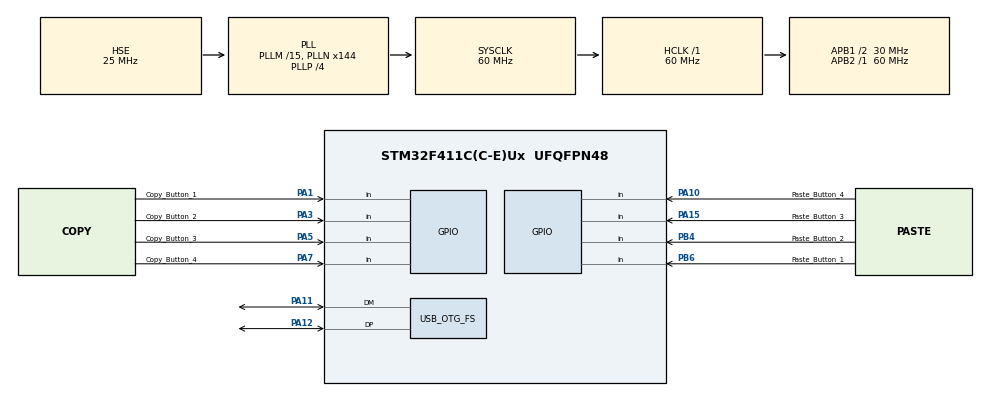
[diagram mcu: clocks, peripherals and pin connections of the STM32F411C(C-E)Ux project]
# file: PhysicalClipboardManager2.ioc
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Mcu.Family=STM32F4
Mcu.Name=STM32F411C(C-E)Ux
Mcu.Package=UFQFPN48
NVIC.OTG_FS_IRQn=true\:0\:0\:false\:false\:true\:false\:true\:true
NVIC.PriorityGroup=NVIC_PRIORITYGROUP_4
PA1.GPIO_Label=Copy_Button_1
PA1.Signal=GPIO_Input
PA10.GPIO_Label=Paste_Button_4
PA10.Signal=GPIO_Input
PA11.Mode=Device_Only
PA11.Signal=USB_OTG_FS_DM
PA12.Mode=Device_Only
PA12.Signal=USB_OTG_FS_DP
PA15.GPIO_Label=Paste_Button_3
PA15.Signal=GPIO_Input
PA3.GPIO_Label=Copy_Button_2
PA3.Signal=GPIO_Input
PA5.GPIO_Label=Copy_Button_3
PA5.Signal=GPIO_Input
PA7.GPIO_Label=Copy_Button_4
PA7.Signal=GPIO_Input
PB4.GPIO_Label=Paste_Button_2
PB4.Signal=GPIO_Input
PB6.GPIO_Label=Paste_Button_1
PB6.Signal=GPIO_Input
PH0\ -\ OSC_IN.Mode=HSE-External-Oscillator
PH0\ -\ OSC_IN.Signal=RCC_OSC_IN
PH1\ -\ OSC_OUT.Mode=HSE-External-Oscillator
PH1\ -\ OSC_OUT.Signal=RCC_OSC_OUT
ProjectManager.HeapSize=0x200
ProjectManager.StackSize=0x400
ProjectManager.TargetToolchain=STM32CubeIDE
RCC.48MHZClocksFreq_Value=48000000
RCC.AHBFreq_Value=60000000
RCC.APB1CLKDivider=RCC_HCLK_DIV2
RCC.APB1Freq_Value=30000000
RCC.APB1TimFreq_Value=60000000
RCC.APB2Freq_Value=60000000
RCC.APB2TimFreq_Value=60000000
RCC.CortexFreq_Value=60000000
RCC.HCLKFreq_Value=60000000
RCC.HSE_VALUE=25000000
RCC.HSI_VALUE=16000000
RCC.LSE_VALUE=32768
RCC.PLLM=15
RCC.PLLN=144
RCC.PLLP=RCC_PLLP_DIV4
RCC.PLLQ=5
RCC.SYSCLKFreq_VALUE=60000000
RCC.SYSCLKSource=RCC_SYSCLKSOURCE_PLLCLK
RCC.VCOOutputFreq_Value=240000000
USB_DEVICE.CLASS_NAME_FS=CDC
USB_DEVICE.VirtualMode=Cdc
USB_DEVICE.VirtualModeFS=Cdc_FS
USB_OTG_FS.VirtualMode=Device_Only
VP_USB_DEVICE_VS_USB_DEVICE_CDC_FS.Mode=CDC_FS
board=custom

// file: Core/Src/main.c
/* USER CODE BEGIN Header */
/**
  ******************************************************************************
  * @file           : main.c
  * @brief          : Main program body
  ******************************************************************************
  * @attention
  *
  * Copyright (c) 2022 STMicroelectronics.
  * All rights reserved.
  *
  * This software is licensed under terms that can be found in the LICENSE file
  * in the root directory of this software component.
  * If no LICENSE file comes with this software, it is provided AS-IS.
  *
  ******************************************************************************
  */
/* USER CODE END Header */
#include "main.h"
#include "usb_device.h"
#include "usbd_cdc_if.h"
#include "flash_memory.h"
#include "addresses.h"
#include <string.h>
#include <stdbool.h>

void SystemClock_Config(void);
static void MX_GPIO_Init(void);
/* USER CODE BEGIN PFP */
static bool send_flash_buffer_to_server(uint32_t metadata_address, uint32_t begin_address);
static bool send_command_to_server(const char* command);
/* USER CODE END PFP */

int main(void)
{

  /* MCU Configuration--------------------------------------------------------*/

  /* Reset of all peripherals, Initializes the Flash interface and the Systick. */
  HAL_Init();

  /* Configure the system clock */
  SystemClock_Config();

  /* Initialize all configured peripherals */
  MX_GPIO_Init();
  MX_USB_DEVICE_Init();

  /* Infinite loop */
  /* USER CODE BEGIN WHILE */
  bool button_pressed = false;
  while (1)
  {
	  // COPY BUTTONS
	  if (HAL_GPIO_ReadPin(GPIOA, Copy_Button_1_Pin))
		  button_pressed = send_command_to_server("COPY1");
	  else if (HAL_GPIO_ReadPin(GPIOA, Copy_Button_2_Pin))
		  button_pressed = send_command_to_server("COPY2");
	  else if (HAL_GPIO_ReadPin(GPIOA, Copy_Button_3_Pin))
		  button_pressed = send_command_to_server("COPY3");
	  else if (HAL_GPIO_ReadPin(GPIOA, Copy_Button_4_Pin))
		  button_pressed = send_command_to_server("COPY4");

	  // PASTE BUTTONS
	  else if (HAL_GPIO_ReadPin(GPIOB, Paste_Button_1_Pin))
		  button_pressed = send_flash_buffer_to_server(CLIPBOARD1_METADATA_ADDRESS, CLIPBOARD1_BEGIN_ADDRESS);
	  else if (HAL_GPIO_ReadPin(GPIOB, Paste_Button_2_Pin))
		  button_pressed = send_flash_buffer_to_server(CLIPBOARD2_METADATA_ADDRESS, CLIPBOARD2_BEGIN_ADDRESS);
	  else if (HAL_GPIO_ReadPin(GPIOA, Paste_Button_3_Pin))
		  button_pressed = send_flash_buffer_to_server(CLIPBOARD3_METADATA_ADDRESS, CLIPBOARD3_BEGIN_ADDRESS);
	  else if (HAL_GPIO_ReadPin(GPIOA, Paste_Button_4_Pin))
		  button_pressed = send_flash_buffer_to_server(CLIPBOARD4_METADATA_ADDRESS, CLIPBOARD4_BEGIN_ADDRESS);

	  if (button_pressed)
	  {
		  HAL_Delay(200);
		  button_pressed = false;
	  }
    /* USER CODE END WHILE */

  }
}

void SystemClock_Config(void)
{
  RCC_OscInitTypeDef RCC_OscInitStruct = {0};
  RCC_ClkInitTypeDef RCC_ClkInitStruct = {0};

  /** Configure the main internal regulator output voltage
  */
  __HAL_RCC_PWR_CLK_ENABLE();
  __HAL_PWR_VOLTAGESCALING_CONFIG(PWR_REGULATOR_VOLTAGE_SCALE1);

  /** Initializes the RCC Oscillators according to the specified parameters
  * in the RCC_OscInitTypeDef structure.
  */
  RCC_OscInitStruct.OscillatorType = RCC_OSCILLATORTYPE_HSE;
  RCC_OscInitStruct.HSEState = RCC_HSE_ON;
  RCC_OscInitStruct.PLL.PLLState = RCC_PLL_ON;
  RCC_OscInitStruct.PLL.PLLSource = RCC_PLLSOURCE_HSE;
  RCC_OscInitStruct.PLL.PLLM = 15;
  RCC_OscInitStruct.PLL.PLLN = 144;
  RCC_OscInitStruct.PLL.PLLP = RCC_PLLP_DIV4;
  RCC_OscInitStruct.PLL.PLLQ = 5;
  if (HAL_RCC_OscConfig(&RCC_OscInitStruct) != HAL_OK)
  {
    Error_Handler();
  }

  /** Initializes the CPU, AHB and APB buses clocks
  */
  RCC_ClkInitStruct.ClockType = RCC_CLOCKTYPE_HCLK|RCC_CLOCKTYPE_SYSCLK
                              |RCC_CLOCKTYPE_PCLK1|RCC_CLOCKTYPE_PCLK2;
  RCC_ClkInitStruct.SYSCLKSource = RCC_SYSCLKSOURCE_PLLCLK;
  RCC_ClkInitStruct.AHBCLKDivider = RCC_SYSCLK_DIV1;
  RCC_ClkInitStruct.APB1CLKDivider = RCC_HCLK_DIV2;
  RCC_ClkInitStruct.APB2CLKDivider = RCC_HCLK_DIV1;

  if (HAL_RCC_ClockConfig(&RCC_ClkInitStruct, FLASH_LATENCY_1) != HAL_OK)
  {
    Error_Handler();
  }
}

static void MX_GPIO_Init(void)
{
  GPIO_InitTypeDef GPIO_InitStruct = {0};

  /* GPIO Ports Clock Enable */
  __HAL_RCC_GPIOH_CLK_ENABLE();
  __HAL_RCC_GPIOA_CLK_ENABLE();
  __HAL_RCC_GPIOB_CLK_ENABLE();

  /*Configure GPIO pins : Copy_Button_1_Pin Copy_Button_2_Pin Copy_Button_3_Pin Copy_Button_4_Pin
                           Paste_Button_4_Pin Paste_Button_3_Pin */
  GPIO_InitStruct.Pin = Copy_Button_1_Pin|Copy_Button_2_Pin|Copy_Button_3_Pin|Copy_Button_4_Pin
                          |Paste_Button_4_Pin|Paste_Button_3_Pin;
  GPIO_InitStruct.Mode = GPIO_MODE_INPUT;
  GPIO_InitStruct.Pull = GPIO_NOPULL;
  HAL_GPIO_Init(GPIOA, &GPIO_InitStruct);

  /*Configure GPIO pins : Paste_Button_2_Pin Paste_Button_1_Pin */
  GPIO_InitStruct.Pin = Paste_Button_2_Pin|Paste_Button_1_Pin;
  GPIO_InitStruct.Mode = GPIO_MODE_INPUT;
  GPIO_InitStruct.Pull = GPIO_NOPULL;
  HAL_GPIO_Init(GPIOB, &GPIO_InitStruct);

}

/* USER CODE BEGIN 4 */
static bool send_flash_buffer_to_server(uint32_t metadata_address, uint32_t begin_address)
{
	char read_flash_data[256] = {0};
	char send_server_data[256] = {0};
	read_string_from_flash(read_flash_data, NULL, metadata_address, begin_address);
	strncpy(send_server_data, "PASTE", 6);
	strncat(send_server_data, read_flash_data, 255);
	CDC_Transmit_FS((uint8_t*)send_server_data, strlen(send_server_data));

	return true;
}

static bool send_command_to_server(const char* command)
{
	char data[256] = {0};
	strncpy(data, command, strlen(command) + 1);
	CDC_Transmit_FS((uint8_t*)data, strlen(data));

	return true;
}
/* USER CODE END 4 */

void Error_Handler(void)
{
  __disable_irq();
  while (1)
  {
  }
}
